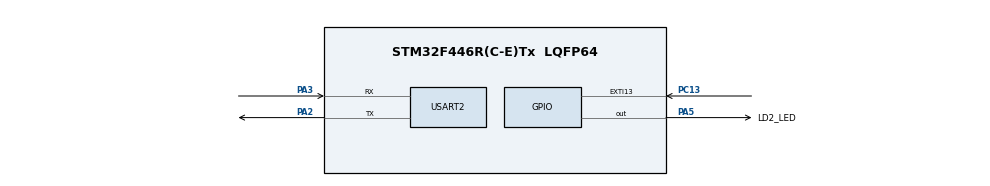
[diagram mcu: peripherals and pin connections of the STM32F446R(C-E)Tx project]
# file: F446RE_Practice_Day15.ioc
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Mcu.Family=STM32F4
Mcu.Name=STM32F446R(C-E)Tx
Mcu.Package=LQFP64
NVIC.EXTI15_10_IRQn=true\:0\:0\:false\:false\:true\:true\:true\:true
NVIC.PriorityGroup=NVIC_PRIORITYGROUP_4
PA13.Mode=Serial_Wire
PA13.Signal=SYS_JTMS-SWDIO
PA14.Mode=Serial_Wire
PA14.Signal=SYS_JTCK-SWCLK
PA2.Mode=Asynchronous
PA2.Signal=USART2_TX
PA3.Mode=Asynchronous
PA3.Signal=USART2_RX
PA5.GPIO_Label=LD2_LED
PA5.Signal=GPIO_Output
PC13.GPIO_ModeDefaultEXTI=GPIO_MODE_IT_FALLING
PC13.Signal=GPXTI13
ProjectManager.HeapSize=0x200
ProjectManager.StackSize=0x400
ProjectManager.TargetToolchain=STM32CubeIDE
RCC.CortexFreq_Value=16000000
RCC.USBFreq_Value=96000000
RCC.VCOOutputFreq_Value=192000000
USART2.VirtualMode=VM_ASYNC
board=custom

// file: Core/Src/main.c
/* USER CODE BEGIN Header */
/**
  ******************************************************************************
  * @file           : main.c
  * @brief          : Main program body
  ******************************************************************************
  * @attention
  *
  * Copyright (c) 2026 STMicroelectronics.
  * All rights reserved.
  *
  * This software is licensed under terms that can be found in the LICENSE file
  * in the root directory of this software component.
  * If no LICENSE file comes with this software, it is provided AS-IS.
  *
  ******************************************************************************
  */
/* USER CODE END Header */
#include "main.h"

/* USER CODE BEGIN Includes */

#include <stdbool.h>
#include <stdint.h>

/* USER CODE END Includes */

UART_HandleTypeDef huart2;

/* USER CODE BEGIN PV */

volatile bool svc_request = false;

volatile uint32_t svc_call_count = 0U;
volatile uint32_t svc_last_return = 0U;
volatile uint32_t svc_error_count = 0U;

volatile uint32_t thread_ipsr = 0U;
volatile uint32_t handler_ipsr = 0U;
volatile uint32_t svc_last_number = 0U;

/* USER CODE END PV */

void SystemClock_Config(void);
static void MX_GPIO_Init(void);
static void MX_USART2_UART_Init(void);

/* USER CODE BEGIN 0 */

static uint32_t SVC_ToggleLed(void)
{
    /*
     * Cortex-M 函式回傳值放在 R0。
     * Handler 會修改 Exception Stack 中保存的 R0。
     */
    register uint32_t result __asm("r0");

    __asm volatile
    (
        "svc #0"
        : "=r" (result)
        :
        : "memory"
    );

    return result;
}

/* USER CODE END 0 */

int main(void)
{

  /* MCU Configuration--------------------------------------------------------*/

  /* Reset of all peripherals, Initializes the Flash interface and the Systick. */
  HAL_Init();

  /* Configure the system clock */
  SystemClock_Config();

  /* Initialize all configured peripherals */
  MX_GPIO_Init();
  MX_USART2_UART_Init();

  /* Infinite loop */
  while (1)
  {

    /* USER CODE BEGIN 3 */

	  /*
	  * 一般主程式中 IPSR 應為 0。
	  */
	 thread_ipsr = __get_IPSR();

	 if (svc_request)
	 {
		 svc_request = false;

		 svc_last_return = SVC_ToggleLed();
	 }

  }
  /* USER CODE END 3 */
}

void SystemClock_Config(void)
{
  RCC_OscInitTypeDef RCC_OscInitStruct = {0};
  RCC_ClkInitTypeDef RCC_ClkInitStruct = {0};

  /** Configure the main internal regulator output voltage
  */
  __HAL_RCC_PWR_CLK_ENABLE();
  __HAL_PWR_VOLTAGESCALING_CONFIG(PWR_REGULATOR_VOLTAGE_SCALE3);

  /** Initializes the RCC Oscillators according to the specified parameters
  * in the RCC_OscInitTypeDef structure.
  */
  RCC_OscInitStruct.OscillatorType = RCC_OSCILLATORTYPE_HSI;
  RCC_OscInitStruct.HSIState = RCC_HSI_ON;
  RCC_OscInitStruct.HSICalibrationValue = RCC_HSICALIBRATION_DEFAULT;
  RCC_OscInitStruct.PLL.PLLState = RCC_PLL_NONE;
  if (HAL_RCC_OscConfig(&RCC_OscInitStruct) != HAL_OK)
  {
    Error_Handler();
  }

  /** Initializes the CPU, AHB and APB buses clocks
  */
  RCC_ClkInitStruct.ClockType = RCC_CLOCKTYPE_HCLK|RCC_CLOCKTYPE_SYSCLK
                              |RCC_CLOCKTYPE_PCLK1|RCC_CLOCKTYPE_PCLK2;
  RCC_ClkInitStruct.SYSCLKSource = RCC_SYSCLKSOURCE_HSI;
  RCC_ClkInitStruct.AHBCLKDivider = RCC_SYSCLK_DIV1;
  RCC_ClkInitStruct.APB1CLKDivider = RCC_HCLK_DIV1;
  RCC_ClkInitStruct.APB2CLKDivider = RCC_HCLK_DIV1;

  if (HAL_RCC_ClockConfig(&RCC_ClkInitStruct, FLASH_LATENCY_0) != HAL_OK)
  {
    Error_Handler();
  }
}

static void MX_USART2_UART_Init(void)
{

  huart2.Instance = USART2;
  huart2.Init.BaudRate = 115200;
  huart2.Init.WordLength = UART_WORDLENGTH_8B;
  huart2.Init.StopBits = UART_STOPBITS_1;
  huart2.Init.Parity = UART_PARITY_NONE;
  huart2.Init.Mode = UART_MODE_TX_RX;
  huart2.Init.HwFlowCtl = UART_HWCONTROL_NONE;
  huart2.Init.OverSampling = UART_OVERSAMPLING_16;
  if (HAL_UART_Init(&huart2) != HAL_OK)
  {
    Error_Handler();
  }

}

static void MX_GPIO_Init(void)
{
  GPIO_InitTypeDef GPIO_InitStruct = {0};

  /* GPIO Ports Clock Enable */
  __HAL_RCC_GPIOC_CLK_ENABLE();
  __HAL_RCC_GPIOA_CLK_ENABLE();

  /*Configure GPIO pin Output Level */
  HAL_GPIO_WritePin(LD2_LED_GPIO_Port, LD2_LED_Pin, GPIO_PIN_RESET);

  /*Configure GPIO pin : PC13 */
  GPIO_InitStruct.Pin = GPIO_PIN_13;
  GPIO_InitStruct.Mode = GPIO_MODE_IT_FALLING;
  GPIO_InitStruct.Pull = GPIO_NOPULL;
  HAL_GPIO_Init(GPIOC, &GPIO_InitStruct);

  /*Configure GPIO pin : LD2_LED_Pin */
  GPIO_InitStruct.Pin = LD2_LED_Pin;
  GPIO_InitStruct.Mode = GPIO_MODE_OUTPUT_PP;
  GPIO_InitStruct.Pull = GPIO_NOPULL;
  GPIO_InitStruct.Speed = GPIO_SPEED_FREQ_LOW;
  HAL_GPIO_Init(LD2_LED_GPIO_Port, &GPIO_InitStruct);

  /* EXTI interrupt init*/
  HAL_NVIC_SetPriority(EXTI15_10_IRQn, 0, 0);
  HAL_NVIC_EnableIRQ(EXTI15_10_IRQn);

}

/* USER CODE BEGIN 4 */

void HAL_GPIO_EXTI_Callback(uint16_t GPIO_Pin)
{
    if (GPIO_Pin == GPIO_PIN_13)
    {
        static uint32_t last_tick = 0U;
        uint32_t now = HAL_GetTick();

        if ((uint32_t)(now - last_tick) >= 200U)
        {
            last_tick = now;
            svc_request = true;
        }
    }
}

/* USER CODE END 4 */

void Error_Handler(void)
{
  __disable_irq();
  while (1)
  {
  }
}
